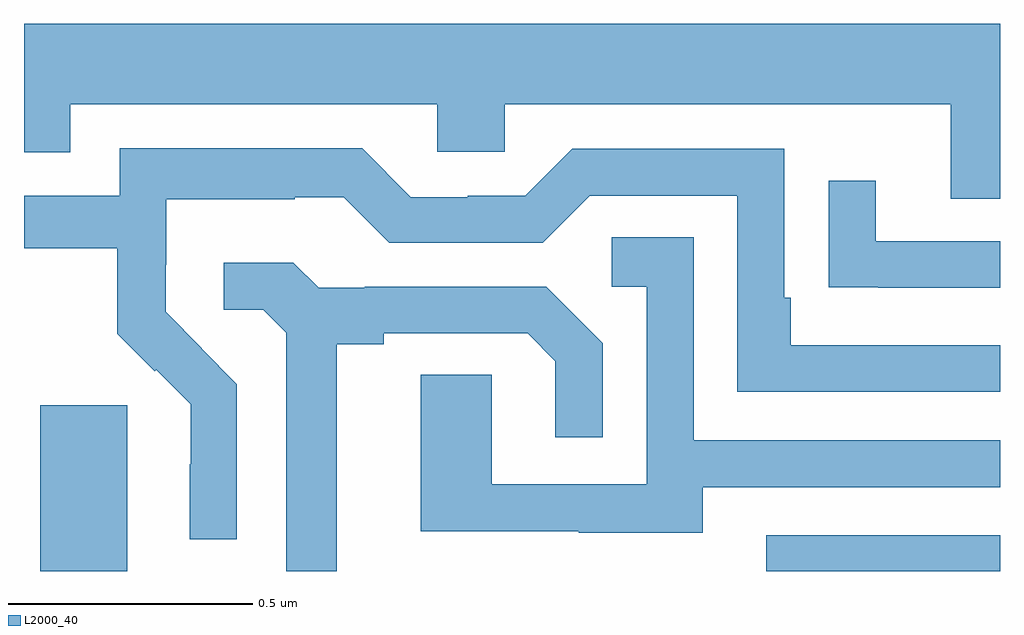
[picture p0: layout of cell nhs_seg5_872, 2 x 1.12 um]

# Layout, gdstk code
import gdstk
lib = gdstk.Library(unit=1e-6, precision=1e-09)
def R(c, l, rs):  # rectangles x0, y0, x1, y1
    for r in rs: c.add(gdstk.rectangle(r[:2], r[2:], *l))
def P(c, l, *ps):  # polygons
    for p in ps: c.add(gdstk.Polygon(p, *l))
L2000_40 = (2000, 40)

nhs_seg5_872 = lib.new_cell('nhs_seg5_872')
R(nhs_seg5_872, L2000_40, [(122.033,859.799,122.212,860.139), (123.521,859.799,124,859.872)])
P(nhs_seg5_872, L2000_40, [(124,860.92),(122,860.92),(122,860.657),(122.095,860.657),(122.095,860.756),(122.847,860.756),(122.847,860.658),(122.985,860.658),(122.985,860.756),(123.899,860.756),(123.899,860.562),(124,860.562)],
  [(122.436,860.182),(122.363,860.255),(122.364,860.256),(122.29,860.33),(122.29,860.427),(122.292,860.427),(122.292,860.561),(122.555,860.561),(122.555,860.565),(122.655,860.565),(122.748,860.472),(123.063,860.472),(123.159,860.568),(123.462,860.568),(123.462,860.166),(124,860.166),(124,860.262),(123.571,860.262),(123.571,860.359),(123.558,860.359),(123.558,860.664),(123.123,860.664),(123.027,860.568),(122.909,860.568),(122.909,860.565),(122.793,860.565),(122.693,860.665),(122.196,860.665),(122.196,860.568),(122,860.568),(122,860.46),(122.191,860.46),(122.191,860.285),(122.268,860.208),(122.271,860.211),(122.342,860.141),(122.342,860.018),(122.34,860.018),(122.34,859.864),(122.436,859.864)],
  [(124,860.475),(123.745,860.475),(123.745,860.599),(123.649,860.599),(123.649,860.38),(123.751,860.38),(123.751,860.379),(124,860.379)],
  [(123.391,859.971),(124,859.971),(124,860.067),(123.372,860.067),(123.372,860.483),(123.204,860.483),(123.204,860.382),(123.276,860.382),(123.276,859.977),(122.958,859.977),(122.958,860.201),(122.813,860.201),(122.813,859.881),(123.137,859.881),(123.137,859.877),(123.391,859.877)],
  [(122.641,860.264),(122.737,860.264),(122.737,860.286),(123.032,860.286),(123.089,860.229),(123.089,860.073),(123.186,860.073),(123.186,860.266),(123.07,860.382),(122.698,860.382),(122.698,860.379),(122.604,860.379),(122.552,860.431),(122.409,860.431),(122.409,860.334),(122.49,860.334),(122.537,860.287),(122.537,859.799),(122.641,859.799)])

lib.write_gds('nhs_seg5_872.gds')
